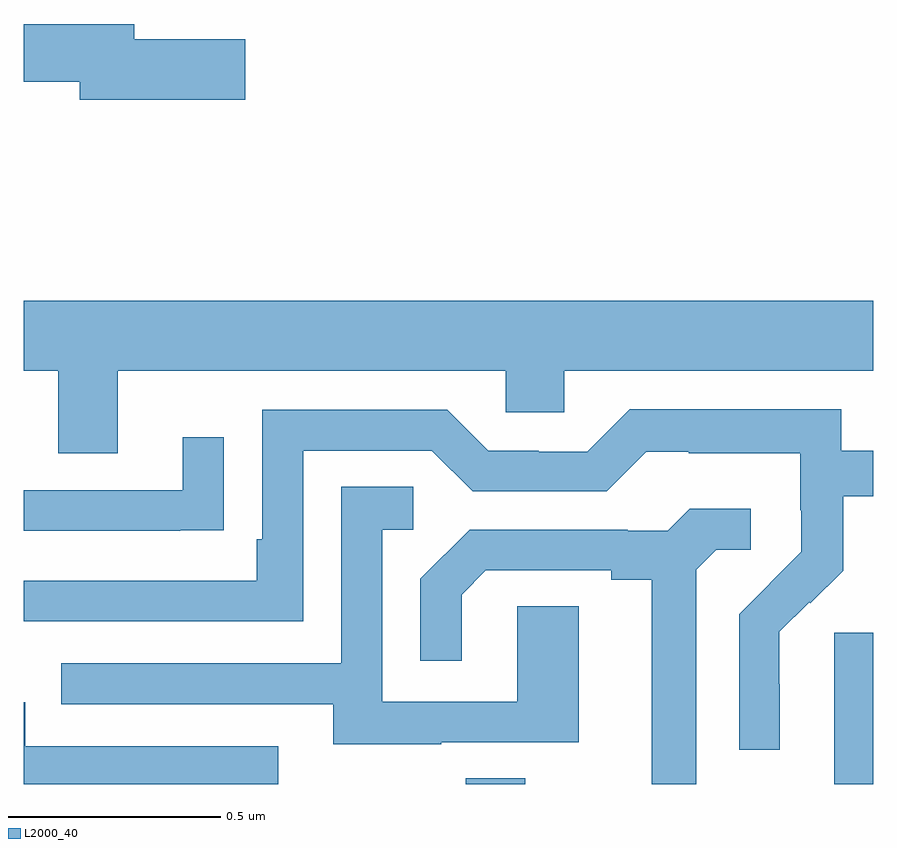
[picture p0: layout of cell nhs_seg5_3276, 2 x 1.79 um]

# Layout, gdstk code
import gdstk
lib = gdstk.Library(unit=1e-6, precision=1e-09)
def R(c, l, rs):  # rectangles x0, y0, x1, y1
    for r in rs: c.add(gdstk.rectangle(r[:2], r[2:], *l))
def P(c, l, *ps):  # polygons
    for p in ps: c.add(gdstk.Polygon(p, *l))
L2000_40 = (2000, 40)

nhs_seg5_3276 = lib.new_cell('nhs_seg5_3276')
R(nhs_seg5_3276, L2000_40, [(156.041,843.799,156.181,843.812), (156.908,843.799,157,844.155)])
P(nhs_seg5_3276, L2000_40, [(155.521,845.552),(155.26,845.552),(155.26,845.588),(155,845.588),(155,845.452),(155.132,845.452),(155.132,845.41),(155.521,845.41)],
  [(155.221,844.772),(156.135,844.772),(156.135,844.674),(156.273,844.674),(156.273,844.772),(157,844.772),(157,844.936),(155,844.936),(155,844.772),(155.081,844.772),(155.081,844.578),(155.221,844.578)],
  [(156.78,844.034),(156.779,844.034),(156.779,844.157),(156.849,844.227),(156.852,844.224),(156.929,844.301),(156.929,844.476),(157,844.476),(157,844.584),(156.924,844.584),(156.924,844.681),(156.427,844.681),(156.327,844.581),(156.212,844.581),(156.212,844.584),(156.093,844.584),(155.997,844.68),(155.562,844.68),(155.562,844.375),(155.549,844.375),(155.549,844.278),(155,844.278),(155,844.182),(155.658,844.182),(155.658,844.584),(155.961,844.584),(156.057,844.488),(156.372,844.488),(156.465,844.581),(156.565,844.581),(156.565,844.577),(156.828,844.577),(156.828,844.443),(156.83,844.443),(156.83,844.346),(156.756,844.272),(156.757,844.271),(156.684,844.198),(156.684,843.88),(156.78,843.88)],
  [(155.369,844.396),(155.471,844.396),(155.471,844.615),(155.375,844.615),(155.375,844.491),(155,844.491),(155,844.395),(155.369,844.395)],
  [(155.983,843.897),(156.307,843.897),(156.307,844.217),(156.162,844.217),(156.162,843.993),(155.844,843.993),(155.844,844.398),(155.917,844.398),(155.917,844.499),(155.748,844.499),(155.748,844.083),(155.089,844.083),(155.089,843.987),(155.729,843.987),(155.729,843.893),(155.983,843.893)],
  [(156.583,844.303),(156.63,844.35),(156.712,844.35),(156.712,844.447),(156.568,844.447),(156.516,844.395),(156.422,844.395),(156.422,844.398),(156.05,844.398),(155.934,844.282),(155.934,844.089),(156.031,844.089),(156.031,844.245),(156.088,844.302),(156.383,844.302),(156.383,844.28),(156.479,844.28),(156.479,843.799),(156.583,843.799)],
  [(155.599,843.888),(155.004,843.888),(155.004,843.991),(155,843.991),(155,843.799),(155.599,843.799)])

lib.write_gds('nhs_seg5_3276.gds')
